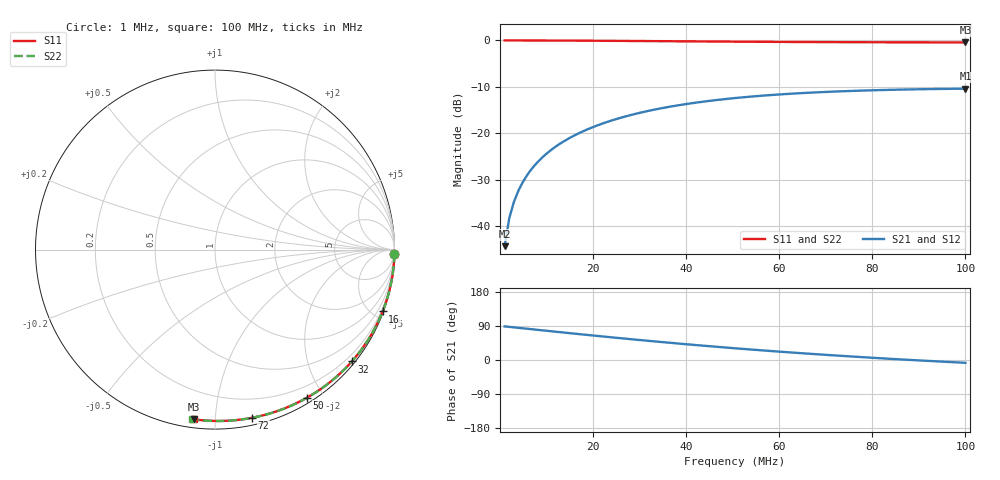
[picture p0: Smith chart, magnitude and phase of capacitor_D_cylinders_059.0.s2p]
!Created with skrf (http://scikit-rf.org).
# MHz S RI R 50.0
!freq ReS11 ImS11 ReS21 ImS21 ReS12 ImS12 ReS22 ImS22
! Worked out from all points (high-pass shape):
!   100 points, 1 MHz to 100 MHz, reference 50 ohm
!   highest |S21| = -10.37 dB at 100 MHz (marker M1); lowest = -44.3 dB at 1 MHz (marker M2)
!   |S21| within 3 dB of the highest: 42.15 MHz to end of sweep
!   lowest |S11| = -0.4 dB at 100 MHz (marker M3), VSWR 41.55, Z = 2.14 - j44.1 ohm
!   |S11| at or under -10 dB: nowhere
!   |S22| runs from -0.4 to 0.0 dB; largest |S21 - S12| = 2.2e-15
!   S11 on the Smith chart (normalised r, x): 1 MHz: 0, -90; 16 MHz: 0.07, -5.60; 32 MHz: 0.07, -2.80; 50 MHz: 0.06, -1.80; 72 MHz: 0.05, -1.24; 100 MHz: 0.04, -0.88
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1  0.9997 -0.0223  0.000138 0.00613  0.000138 0.00613  0.9997 -0.0227
! Port Impedance 50.00000000000000 0.00000000000000 50.00000000000000 0.00000000000000
2  0.9989 -0.0447  0.000551 0.0122  0.000551 0.0122  0.9989 -0.0454
3  0.9976 -0.0669  0.00124 0.0183  0.00124 0.0183  0.9975 -0.068
4  0.9957 -0.0891  0.0022 0.0244  0.0022 0.0244  0.9956 -0.0906
5  0.9933 -0.1113  0.00343 0.0304  0.00343 0.0304  0.9931 -0.1131
6  0.9904 -0.1333  0.00492 0.0363  0.00492 0.0363  0.9901 -0.1354
7  0.987 -0.1553  0.00668 0.0421  0.00668 0.0421  0.9866 -0.1577
9  0.9785 -0.1987  0.011 0.0535  0.011 0.0535  0.9779 -0.2018
12  0.9622 -0.2625  0.0192 0.0697  0.0192 0.0697  0.9611 -0.2666
16  0.9339 -0.3445  0.0332 0.0892  0.0332 0.0892  0.932 -0.3497
18  0.9172 -0.384  0.0413 0.0979  0.0413 0.0979  0.9148 -0.3896
24  0.8581 -0.4947  0.0693 0.119  0.0693 0.119  0.8541 -0.5015
32  0.7624 -0.6229  0.1115 0.1351  0.1115 0.1351  0.7562 -0.6304
34  0.7363 -0.6512  0.1224 0.1369  0.1224 0.1369  0.7296 -0.6588
42  0.6263 -0.7496  0.165 0.1362  0.165 0.1362  0.6174 -0.757
50  0.5117 -0.8253  0.2037 0.1245  0.2037 0.1245  0.5012 -0.8318
51  0.4973 -0.8333  0.2081 0.1224  0.2081 0.1224  0.4866 -0.8396
59  0.3831 -0.8862  0.2397 0.1017  0.2397 0.1017  0.3713 -0.8912
67  0.2724 -0.9221  0.2642 0.0762  0.2642 0.0762  0.2603 -0.9256
72  0.2059 -0.937  0.276 0.0588  0.276 0.0588  0.1938 -0.9396
84  0.0564 -0.954  0.294 0.0157  0.294 0.0157  0.0454 -0.9546
100  -0.119 -0.9455  0.3005 -0.0391  0.3005 -0.0391  -0.1269 -0.9445
